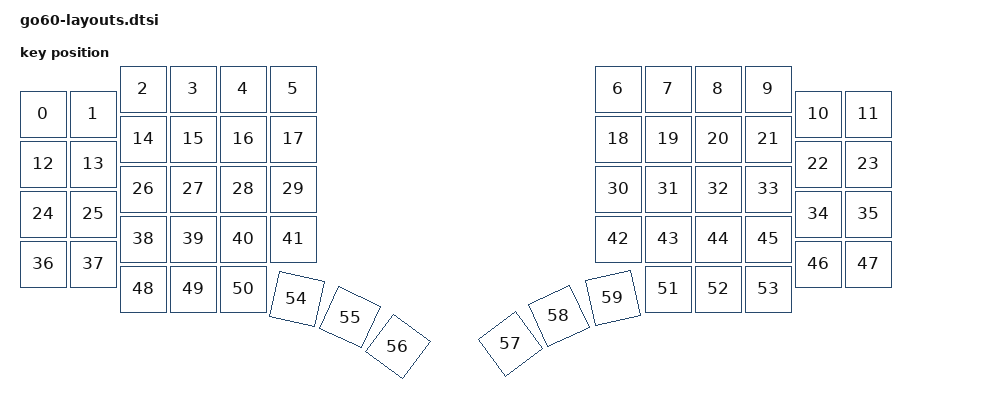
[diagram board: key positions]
/*
 * Go60 physical layout — used by keymap-drawer only, NOT by the firmware build.
 *
 * Vendored from moergo-sc/zmk@go60-zmk0.3.0 app/boards/arm/go60/go60-layouts.dtsi.
 * The board lives in the ZMK fork, which the draw workflow deliberately does not
 * fetch (`west config manifest.project-filter " -zmk,-zephyr"`), so the layout has
 * to live in this repo for drawing to work.
 *
 * MODIFIED vs upstream: upstream orders the last 12 keys as
 *     [LH bottom][LH thumbs][RH thumbs][RH bottom]
 * but matrix_transform0 in go60.dtsi assigns key positions as
 *     48-50 LH bottom, 51-53 RH bottom, 54-56 LH thumbs, 57-59 RH thumbs
 * (map row `RC(4,2..4) RC(4,9..11)`, then `RC(0,6) RC(1,6) RC(2,6) RC(2,7) RC(1,7) RC(0,7)`).
 * The two middle groups are swapped below so key order matches key *position* order —
 * otherwise thumb legends would render on the bottom row and vice versa.
 *
 * Referenced explicitly via `draw_args` in .github/workflows/build-and-draw.yml.
 */

#include <physical_layouts.dtsi>

/ {
    physical_layout0: physical_layout_0 {
        compatible = "zmk,physical-layout";
        display-name = "Default";

        keys  //                     w   h    x    y     rot    rx    ry
            = <&key_physical_attrs 100 100    0   50       0     0     0>
            , <&key_physical_attrs 100 100  100   50       0     0     0>
            , <&key_physical_attrs 100 100  200    0       0     0     0>
            , <&key_physical_attrs 100 100  300    0       0     0     0>
            , <&key_physical_attrs 100 100  400    0       0     0     0>
            , <&key_physical_attrs 100 100  500    0       0     0     0>
            , <&key_physical_attrs 100 100 1150    0       0     0     0>
            , <&key_physical_attrs 100 100 1250    0       0     0     0>
            , <&key_physical_attrs 100 100 1350    0       0     0     0>
            , <&key_physical_attrs 100 100 1450    0       0     0     0>
            , <&key_physical_attrs 100 100 1550   50       0     0     0>
            , <&key_physical_attrs 100 100 1650   50       0     0     0>
            , <&key_physical_attrs 100 100    0  150       0     0     0>
            , <&key_physical_attrs 100 100  100  150       0     0     0>
            , <&key_physical_attrs 100 100  200  100       0     0     0>
            , <&key_physical_attrs 100 100  300  100       0     0     0>
            , <&key_physical_attrs 100 100  400  100       0     0     0>
            , <&key_physical_attrs 100 100  500  100       0     0     0>
            , <&key_physical_attrs 100 100 1150  100       0     0     0>
            , <&key_physical_attrs 100 100 1250  100       0     0     0>
            , <&key_physical_attrs 100 100 1350  100       0     0     0>
            , <&key_physical_attrs 100 100 1450  100       0     0     0>
            , <&key_physical_attrs 100 100 1550  150       0     0     0>
            , <&key_physical_attrs 100 100 1650  150       0     0     0>
            , <&key_physical_attrs 100 100    0  250       0     0     0>
            , <&key_physical_attrs 100 100  100  250       0     0     0>
            , <&key_physical_attrs 100 100  200  200       0     0     0>
            , <&key_physical_attrs 100 100  300  200       0     0     0>
            , <&key_physical_attrs 100 100  400  200       0     0     0>
            , <&key_physical_attrs 100 100  500  200       0     0     0>
            , <&key_physical_attrs 100 100 1150  200       0     0     0>
            , <&key_physical_attrs 100 100 1250  200       0     0     0>
            , <&key_physical_attrs 100 100 1350  200       0     0     0>
            , <&key_physical_attrs 100 100 1450  200       0     0     0>
            , <&key_physical_attrs 100 100 1550  250       0     0     0>
            , <&key_physical_attrs 100 100 1650  250       0     0     0>
            , <&key_physical_attrs 100 100    0  350       0     0     0>
            , <&key_physical_attrs 100 100  100  350       0     0     0>
            , <&key_physical_attrs 100 100  200  300       0     0     0>
            , <&key_physical_attrs 100 100  300  300       0     0     0>
            , <&key_physical_attrs 100 100  400  300       0     0     0>
            , <&key_physical_attrs 100 100  500  300       0     0     0>
            , <&key_physical_attrs 100 100 1150  300       0     0     0>
            , <&key_physical_attrs 100 100 1250  300       0     0     0>
            , <&key_physical_attrs 100 100 1350  300       0     0     0>
            , <&key_physical_attrs 100 100 1450  300       0     0     0>
            , <&key_physical_attrs 100 100 1550  350       0     0     0>
            , <&key_physical_attrs 100 100 1650  350       0     0     0>
            , <&key_physical_attrs 100 100  200  400       0     0     0>
            , <&key_physical_attrs 100 100  300  400       0     0     0>
            , <&key_physical_attrs 100 100  400  400       0     0     0>
            , <&key_physical_attrs 100 100 1250  400       0     0     0>
            , <&key_physical_attrs 100 100 1350  400       0     0     0>
            , <&key_physical_attrs 100 100 1450  400       0     0     0>
            , <&key_physical_attrs 100 100  520  410    1250   520   410>
            , <&key_physical_attrs 100 100  640  440    2500   640   440>
            , <&key_physical_attrs 100 100  750  495    3700   750   495>
            , <&key_physical_attrs 100 100  915  550 (-3700)   915   550>
            , <&key_physical_attrs 100 100 1015  480 (-2500)  1015   480>
            , <&key_physical_attrs 100 100 1130  430 (-1250)  1130   430>
            ;
    };
};
